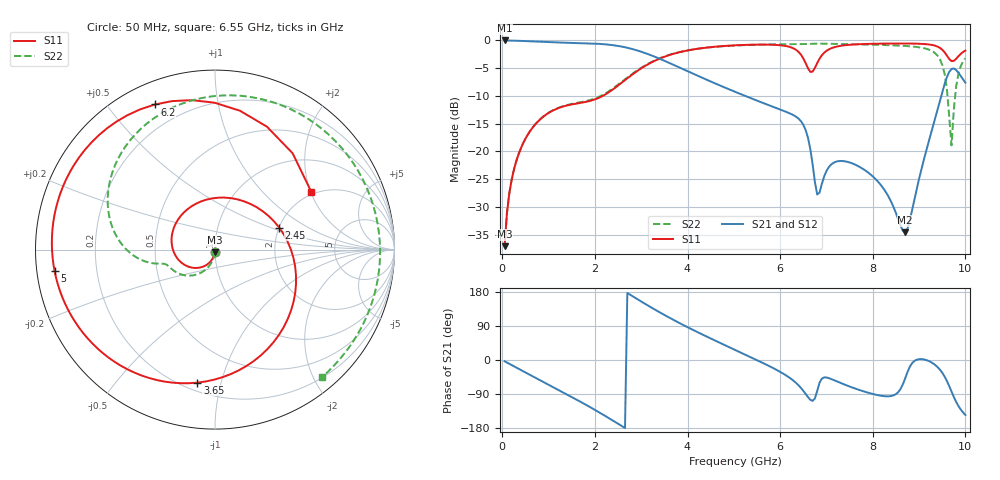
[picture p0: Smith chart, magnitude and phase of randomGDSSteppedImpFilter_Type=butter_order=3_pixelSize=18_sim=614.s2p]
! freq	dB(S11)	phase(S11)	dB(S12)	phase(S12)
!  dB(S21)	phase(S21)	dB(S22)	phase(S22)
!S-par simulation data
#  GHz  S  DB  R 50
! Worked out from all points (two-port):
!   200 points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, 50 MHz to 10 GHz, reference 50 ohm
!   highest |S21| = -0.01 dB at 50 MHz (marker M1); lowest = -34.6 dB at 8.7 GHz (marker M2)
!   |S21| within 3 dB of the highest: start of sweep to 3.313 GHz
!   lowest |S11| = -37.1 dB at 50 MHz (marker M3), VSWR 1.03, Z = 49.9 - j1.4 ohm
!   |S11| at or under -10 dB: start of sweep to 2.168 GHz
!   |S22| runs from -37.0 to -0.6 dB; largest |S21 - S12| = 0
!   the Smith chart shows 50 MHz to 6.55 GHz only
!   S11 on the Smith chart (normalised r, x): 50 MHz: 1.00, -0.03; 2.45 GHz: 2.00, +0.57; 3.65 GHz: 0.25, -0.84; 5 GHz: 0.05, -0.07; 6.2 GHz: 0.10, +0.66; 6.55 GHz: 1.92, +2.02
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0.05  -37.06 -93.1  -0.01 -3.4  -0.01 -3.4  -37.05 -91.8
0.2  -25.20 -105.8  -0.03 -13.3  -0.03 -13.3  -25.18 -100.8
0.5  -17.71 -129.8  -0.12 -32.9  -0.12 -32.9  -17.68 -116.8
1.75  -11.16 112.4  -0.50 -114.4  -0.50 -114.4  -11.04 -162.3
2.45  -8.45 19.0  -0.93 -164.5  -0.93 -164.5  -8.27 -169.7
3.4  -3.27 -78.9  -3.31 125.7  -3.31 125.7  -3.21 148.6
3.65  -2.53 -97.5  -4.22 108.9  -4.22 108.9  -2.48 133.8
4.35  -1.36 -139.9  -6.85 65.5  -6.85 65.5  -1.36 90.3
5  -0.90 -172.4  -9.17 28.2  -9.17 28.2  -0.93 48.4
5.05  -0.88 -174.8  -9.34 25.4  -9.34 25.4  -0.90 45.1
6.2  -1.16 112.5  -13.11 -46.5  -13.11 -46.5  -0.69 -29.1
6.55  -4.08 30.8  -16.13 -89.5  -16.13 -89.5  -0.64 -50.0
6.7  -5.63 -60.3  -22.24 -107.8  -22.24 -107.8  -0.59 -58.9
6.9  -2.68 -148.7  -25.86 -49.2  -25.86 -49.2  -0.58 -70.9
7.1  -1.43 174.8  -22.36 -50.0  -22.36 -50.0  -0.61 -82.2
8.35  -0.56 97.9  -28.29 -95.7  -28.29 -95.7  -0.86 -147.9
8.7  -0.56 82.8  -34.57 -48.4  -34.57 -48.4  -1.00 -167.2
9.45  -1.35 46.3  -10.84 -25.4  -10.84 -25.4  -3.40 123.7
9.65  -3.34 40.7  -5.68 -68.8  -5.68 -68.8  -13.66 50.9
9.7  -3.73 43.8  -5.14 -83.3  -5.14 -83.3  -18.92 -33.2
9.8  -3.31 49.6  -5.33 -110.4  -5.33 -110.4  -8.30 -126.3
10  -1.84 45.0  -7.60 -145.2  -7.60 -145.2  -3.22 -174.1
